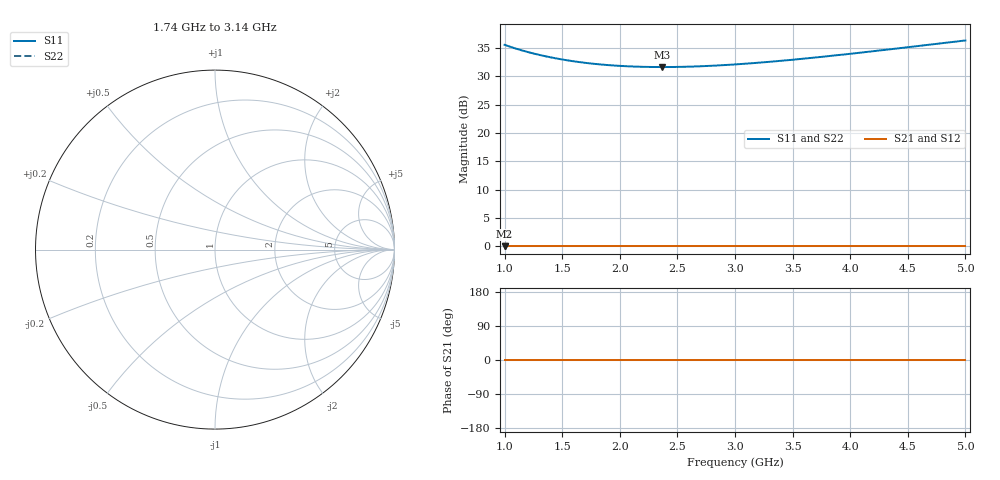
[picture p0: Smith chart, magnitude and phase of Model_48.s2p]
# GHZ S RI R 50
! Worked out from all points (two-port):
!   401 points, 1 GHz to 5 GHz, reference 50 ohm
!   highest |S21| = 0.00 dB at 1 GHz (marker M1); lowest = 0.0 dB at 1 GHz (marker M2)
!   |S21| within 3 dB of the highest: start of sweep to end of sweep
!   lowest |S11| = 31.6 dB at 2.37 GHz (marker M3)
!   |S11| at or under -10 dB: nowhere
!   |S22| runs from 31.6 to 36.3 dB; largest |S21 - S12| = 0
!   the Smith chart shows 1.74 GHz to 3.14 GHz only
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1  59.84 0  1 0  1 0  59.84 0
1.02  58.86 0  1 0  1 0  58.86 0
1.15  53.47 0  1 0  1 0  53.47 0
1.22  51.13 0  1 0  1 0  51.13 0
1.3  48.82 0  1 0  1 0  48.82 0
1.38  46.86 0  1 0  1 0  46.86 0
1.47  44.99 0  1 0  1 0  44.99 0
1.57  43.28 0  1 0  1 0  43.28 0
1.67  41.89 0  1 0  1 0  41.89 0
1.82  40.29 0  1 0  1 0  40.29 0
1.98  39.14 0  1 0  1 0  39.14 0
2.15  38.41 0  1 0  1 0  38.41 0
2.34  38.11 0  1 0  1 0  38.11 0
2.37  38.11 0  1 0  1 0  38.11 0
2.67  38.62 0  1 0  1 0  38.62 0
3  40.19 0  1 0  1 0  40.19 0
3.33  42.65 0  1 0  1 0  42.65 0
3.67  45.98 0  1 0  1 0  45.98 0
4  49.9 0  1 0  1 0  49.9 0
4.34  54.59 0  1 0  1 0  54.59 0
4.64  59.25 0  1 0  1 0  59.25 0
5  65.44 0  1 0  1 0  65.44 0
